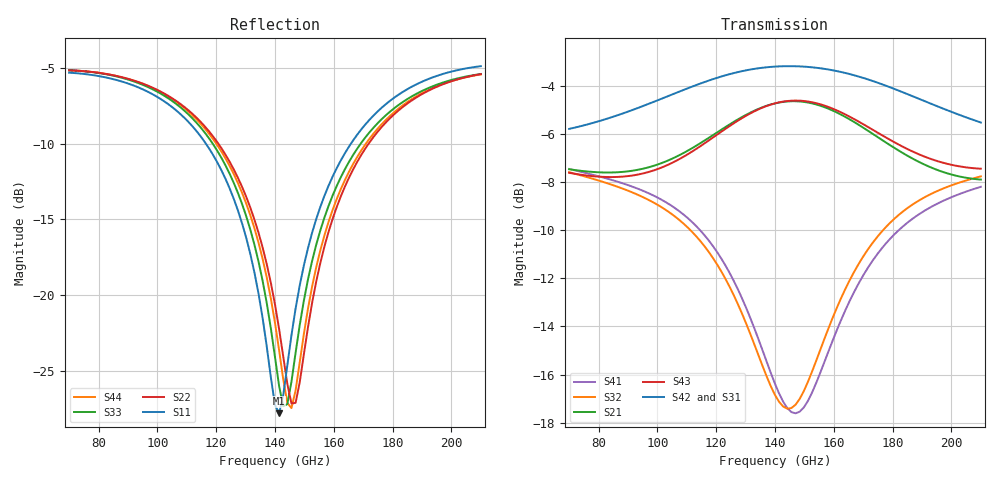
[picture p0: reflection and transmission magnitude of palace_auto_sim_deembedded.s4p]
! Created with skrf 2.0.1 (http://scikit-rf.org).
# GHz S DB R 50.0
!freq dBS11 angS11 dBS12 angS12 dBS13 angS13
! dBS14 angS14
! dBS21 angS21 dBS22 angS22 dBS23 angS23
! dBS24 angS24
! dBS31 angS31 dBS32 angS32 dBS33 angS33
! dBS34 angS34
! dBS41 angS41 dBS42 angS42 dBS43 angS43
! dBS44 angS44
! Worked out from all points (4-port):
!   101 points, 70 GHz to 210 GHz, reference 50 ohm
!   strongest paths, dB at 70 GHz, 105 GHz, 140 GHz, 175 GHz, 210 GHz:
!     S42: -5.8, -4.4, -3.2, -3.9, -5.5
!     S31: -5.7, -4.2, -3.2, -4.1, -5.8
!     S43: -7.6, -7.2, -4.7, -6.0, -7.4
!     S21: -7.5, -7.0, -4.7, -6.1, -7.9
!     S32: -7.6, -9.3, -16.8, -10.2, -7.8
!     S41: -7.5, -9.0, -16.4, -11.0, -8.2
!   lowest |S11| = -27.8 dB at 141.4 GHz (marker M1), VSWR 1.09, Z = 54.3 + j0.253 ohm
!   |S11| at or under -10 dB: 116.5 GHz to 165.8 GHz (49.37 GHz wide, 35 % of centre)
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70  -5.33 164.3  -7.47 -46.2  -5.72 -77.5  -7.46 -60.1
    -7.47 -46.2  -5.18 158.5  -7.59 -62.5  -5.80 -80.1
    -5.72 -77.5  -7.59 -62.5  -5.17 157.8  -7.62 -48.3
    -7.46 -60.1  -5.80 -80.1  -7.62 -48.3  -5.17 158.2
117.6  -10.33 120.1  -6.16 -65.1  -3.63 -138.0  -10.45 -105.0
       -6.16 -65.1  -9.20 112.6  -10.93 -107.3  -3.78 -141.1
       -3.63 -138.0  -10.93 -107.3  -9.66 109.3  -6.27 -66.8
       -10.45 -105.0  -3.78 -141.1  -6.27 -66.8  -9.36 111.3
131.6  -17.27 93.5  -5.12 -77.4  -3.23 -160.2  -13.65 -114.6
       -5.12 -77.4  -14.22 89.9  -14.31 -114.4  -3.33 -163.2
       -3.23 -160.2  -14.31 -114.4  -15.66 83.4  -5.15 -79.3
       -13.65 -114.6  -3.33 -163.2  -5.15 -79.3  -14.72 87.6
141.4  -27.77 3.3  -4.70 -88.7  -3.17 -176.2  -16.79 -106.2
       -4.70 -88.7  -22.22 56.6  -17.13 -101.5  -3.20 -179.2
       -3.17 -176.2  -17.13 -101.5  -25.98 27.8  -4.69 -90.9
       -16.79 -106.2  -3.20 -179.2  -4.69 -90.9  -23.62 48.6
147  -20.87 -61.3  -4.65 -95.6  -3.22 174.7  -17.61 -91.5
     -4.65 -95.6  -27.08 -19.4  -17.25 -86.0  -3.19 171.6
     -3.22 174.7  -17.25 -86.0  -23.78 -61.0  -4.62 -97.9
     -17.61 -91.5  -3.19 171.6  -4.62 -97.9  -26.26 -38.6
163.8  -10.63 -99.2  -5.29 -115.1  -3.64 148.2  -13.36 -69.7
       -5.29 -115.1  -12.82 -106.5  -12.47 -72.3  -3.47 144.2
       -3.64 148.2  -12.47 -72.3  -11.68 -113.3  -5.19 -117.7
       -13.36 -69.7  -3.47 144.2  -5.19 -117.7  -12.39 -109.5
210  -4.90 -143.7  -7.90 -139.7  -5.78 87.4  -8.20 -109.8
     -7.90 -139.7  -5.42 -160.1  -7.77 -117.3  -5.53 80.0
     -5.78 87.4  -7.77 -117.3  -5.42 -162.8  -7.45 -145.0
     -8.20 -109.8  -5.53 80.0  -7.45 -145.0  -5.44 -161.5
